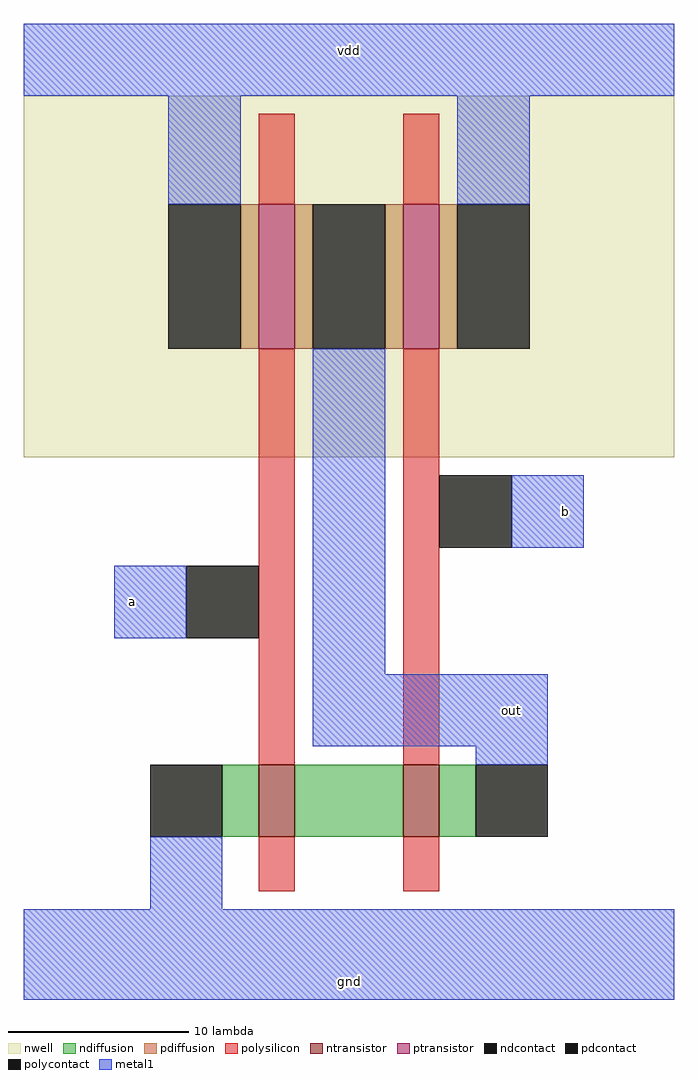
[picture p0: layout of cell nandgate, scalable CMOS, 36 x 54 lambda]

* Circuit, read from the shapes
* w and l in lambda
.subckt nandgate a b gnd out vdd
M1 n1 a gnd VSUBS nfet w=4 l=2
M2 out b n1 VSUBS nfet w=4 l=2
M3 out a vdd n2 pfet w=8 l=2
M4 vdd b out n2 pfet w=8 l=2
.ends

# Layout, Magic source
magic
tech scmos
<< nwell >>
rect -7 37 29 57
<< ntransistor >>
rect 6 16 8 20
rect 14 16 16 20
<< ptransistor >>
rect 6 43 8 51
rect 14 43 16 51
<< ndiffusion >>
rect 4 16 6 20
rect 8 16 14 20
rect 16 16 18 20
<< pdiffusion >>
rect 5 43 6 51
rect 8 43 9 51
rect 13 43 14 51
rect 16 43 17 51
<< ndcontact >>
rect 0 16 4 20
rect 18 16 22 20
<< pdcontact >>
rect 1 43 5 51
rect 9 43 13 51
rect 17 43 21 51
<< polysilicon >>
rect 6 51 8 56
rect 14 51 16 56
rect 6 20 8 43
rect 14 20 16 43
rect 6 13 8 16
rect 14 13 16 16
<< polycontact >>
rect 2 27 6 31
rect 16 32 20 36
<< metal1 >>
rect -7 57 29 61
rect 1 51 5 57
rect 17 51 21 57
rect -2 27 2 31
rect 9 25 13 43
rect 20 32 24 36
rect 9 21 22 25
rect 18 20 22 21
rect 0 12 4 16
rect -7 7 29 12
<< labels >>
rlabel metal1 8 7 14 9 1 gnd
rlabel metal1 22 32 24 36 1 b
rlabel metal1 18 21 22 25 1 out
rlabel metal1 -2 27 0 31 1 a
rlabel metal1 8 59 14 60 5 vdd
<< end >>
